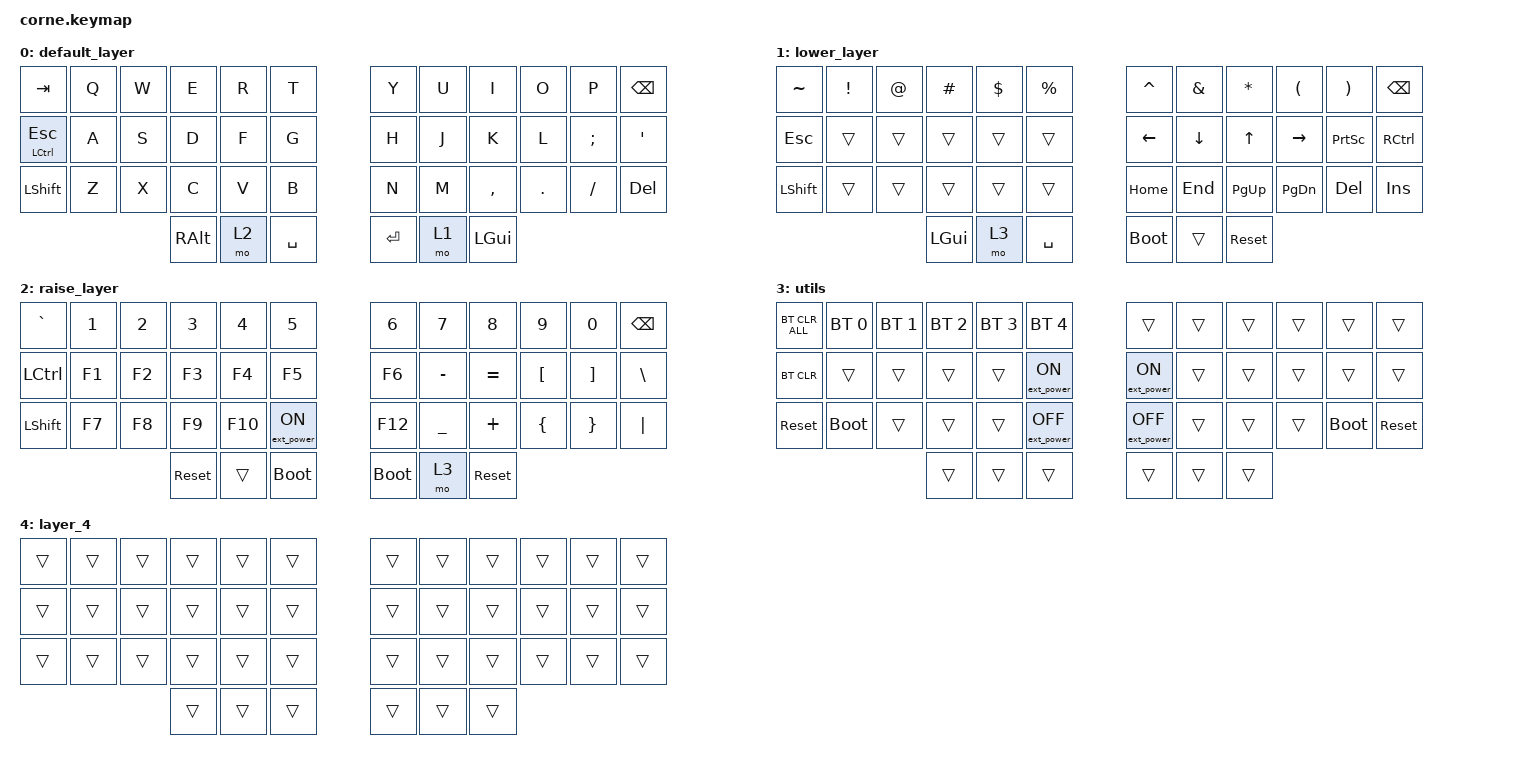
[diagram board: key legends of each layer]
/*
 * Copyright (c) 2020 The ZMK Contributors
 *
 * SPDX-License-Identifier: MIT
 */

#include <behaviors.dtsi>
#include <dt-bindings/zmk/bt.h>
#include <dt-bindings/zmk/ext_power.h>
#include <dt-bindings/zmk/keys.h>

/ {
    behaviors {
        ht: ht {
            compatible = "zmk,behavior-hold-tap";
            label = "HT";
            bindings = <&kp>, <&kp>;

            #binding-cells = <2>;
            tapping-term-ms = <130>;
            flavor = "balanced";
            hold-trigger-key-positions = <12>;
        };

        new_behavior: new_behavior {
            compatible = "zmk,behavior-caps-word";
            label = "NEW_BEHAVIOR";
            #binding-cells = <0>;
            continue-list = <NUMBER_0>;
        };
    };

    keymap {
        compatible = "zmk,keymap";

        default_layer {
            // -----------------------------------------------------------------------------------------
            // |  TAB |  Q  |  W  |  E  |  R  |  T  |   |  Y  |  U   |  I  |  O  |  P  | BKSP |
            // | CTRL |  A  |  S  |  D  |  F  |  G  |   |  H  |  J   |  K  |  L  |  ;  |  '   |
            // | SHFT |  Z  |  X  |  C  |  V  |  B  |   |  N  |  M   |  ,  |  .  |  /  | ESC  |
            //                    | GUI | LWR | SPC |   | ENT | RSE  | ALT |

            bindings = <
&kp TAB           &kp Q  &kp W  &kp E          &kp R  &kp T        &kp Y    &kp U  &kp I         &kp O    &kp P      &kp BSPC
&ht LCTRL ESCAPE  &kp A  &kp S  &kp D          &kp F  &kp G        &kp H    &kp J  &kp K         &kp L    &kp SEMI   &kp SQT
&kp LEFT_SHIFT    &kp Z  &kp X  &kp C          &kp V  &kp B        &kp N    &kp M  &kp COMMA     &kp DOT  &kp SLASH  &kp DELETE
                                &kp RIGHT_ALT  &mo 2  &kp SPACE    &kp RET  &mo 1  &kp LEFT_GUI
            >;
        };

        lower_layer {
            // -----------------------------------------------------------------------------------------
            // |  TAB |  1  |  2  |  3  |  4  |  5  |   |  6  |  7  |  8  |  9  |  0  | BKSP |
            // | BTCLR| BT1 | BT2 | BT3 | BT4 | BT5 |   | LFT | DWN |  UP | RGT |     |      |
            // | SHFT |     |     |     |     |     |   |     |     |     |     |     |      |
            //                    | GUI |     | SPC |   | ENT |     | ALT |

            bindings = <
&kp TILDE       &kp EXCL  &kp AT  &kp HASH  &kp DOLLAR  &kp PERCENT    &kp CARET    &kp AMPERSAND  &kp ASTRK    &kp LEFT_PARENTHESIS  &kp RIGHT_PARENTHESIS  &kp BSPC
&kp ESCAPE      &trans    &trans  &trans    &trans      &trans         &kp LEFT     &kp DOWN       &kp UP       &kp RIGHT             &kp PRINTSCREEN        &kp RIGHT_CONTROL
&kp LEFT_SHIFT  &trans    &trans  &trans    &trans      &trans         &kp HOME     &kp END        &kp PAGE_UP  &kp PAGE_DOWN         &kp DELETE             &kp INSERT
                                  &kp LGUI  &mo 3       &kp SPACE      &bootloader  &trans         &sys_reset
            >;
        };

        raise_layer {
            // -----------------------------------------------------------------------------------------
            // |  TAB |  !  |  @  |  #  |  $  |  %  |   |  ^  |  &  |  *  |  (  |  )  | BKSP |
            // | CTRL |     |     |     |     |     |   |  -  |  =  |  [  |  ]  |  \  |  `   |
            // | SHFT |     |     |     |     |     |   |  _  |  +  |  {  |  }  | "|" |  ~   |
            //                    | GUI |     | SPC |   | ENT |     | ALT |

            bindings = <
&kp GRAVE  &kp NUMBER_1  &kp NUMBER_2  &kp NUMBER_3  &kp NUMBER_4  &kp NUMBER_5        &kp NUMBER_6  &kp NUMBER_7  &kp NUMBER_8  &kp NUMBER_9      &kp NUMBER_0       &kp BSPC
&kp LCTRL  &kp F1        &kp F2        &kp F3        &kp F4        &kp F5              &kp F6        &kp MINUS     &kp EQUAL     &kp LEFT_BRACKET  &kp RIGHT_BRACKET  &kp BACKSLASH
&kp LSHFT  &kp F7        &kp F8        &kp F9        &kp F10       &ext_power EP_ON    &kp F12       &kp UNDER     &kp PLUS      &kp LEFT_BRACE    &kp RIGHT_BRACE    &kp PIPE
                                       &sys_reset    &trans        &bootloader         &bootloader   &mo 3         &sys_reset
            >;
        };

        utils {
            bindings = <
&bt BT_CLR_ALL  &bt BT_SEL 0  &bt BT_SEL 1  &bt BT_SEL 2  &bt BT_SEL 3  &bt BT_SEL 4         &trans             &trans  &trans  &trans  &trans       &trans
&bt BT_CLR      &trans        &trans        &trans        &trans        &ext_power EP_ON     &ext_power EP_ON   &trans  &trans  &trans  &trans       &trans
&sys_reset      &bootloader   &trans        &trans        &trans        &ext_power EP_OFF    &ext_power EP_OFF  &trans  &trans  &trans  &bootloader  &sys_reset
                                            &trans        &trans        &trans               &trans             &trans  &trans
            >;
        };

        layer_4 {
            bindings = <
&trans  &trans  &trans  &trans  &trans  &trans    &trans  &trans  &trans  &trans  &trans  &trans
&trans  &trans  &trans  &trans  &trans  &trans    &trans  &trans  &trans  &trans  &trans  &trans
&trans  &trans  &trans  &trans  &trans  &trans    &trans  &trans  &trans  &trans  &trans  &trans
                        &trans  &trans  &trans    &trans  &trans  &trans
            >;
        };
    };
};
